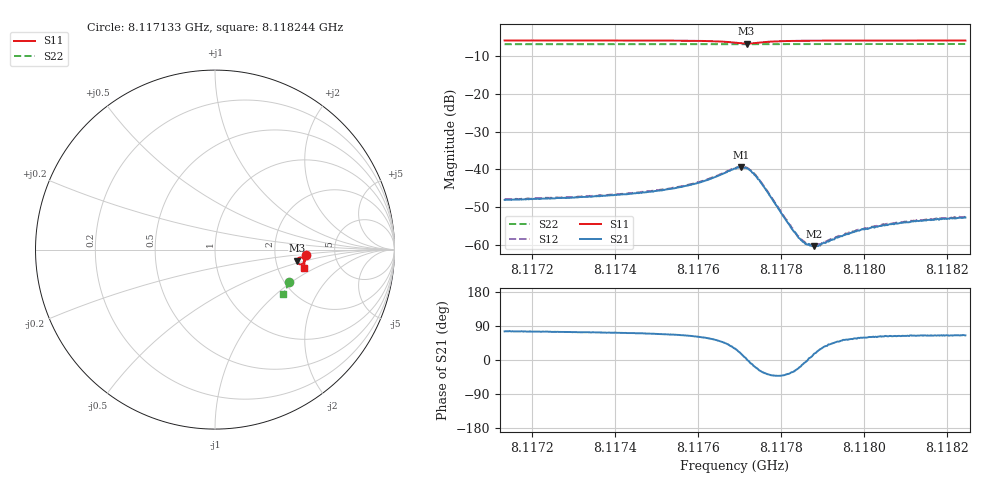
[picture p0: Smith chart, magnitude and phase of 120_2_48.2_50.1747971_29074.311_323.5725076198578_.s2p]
#  HZ  S  RI  R  50.00
! Rohde & Schwarz Vector Network Analyzer
! Rohde-Schwarz,ZNB20-2Port,1311601062101988,3.16
! Created: UTC 3/20/2024, 11:41:22 AM
! freq[Hz]  re:S11  im:S11  re:S21  im:S21  re:S12  im:S12  re:S22  im:S22
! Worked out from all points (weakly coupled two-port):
!   401 points, 8.117133 GHz to 8.118244 GHz, reference 50 ohm
!   highest |S21| = -39.42 dB at 8.117702 GHz (marker M1); lowest = -60.3 dB at 8.11788 GHz (marker M2)
!   lowest |S11| = -6.7 dB at 8.117716 GHz (marker M3), VSWR 2.71, Z = 132 - j20.6 ohm
!   |S11| at or under -10 dB: nowhere
!   |S22| runs from -6.9 to -6.9 dB; largest |S21 - S12| = 0.00051
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8.1171331e9  0.5052 -0.0273  0.00099 0.00383  0.00104 0.00392  0.4144 -0.1784
8.1173191e9  0.5036 -0.0428  0.00126 0.00413  0.00133 0.00422  0.4095 -0.1904
8.1174135e9  0.5024 -0.0512  0.00147 0.00443  0.0015 0.0045  0.4069 -0.1965
8.1175051e9  0.5001 -0.0605  0.0019 0.0049  0.00204 0.00496  0.4043 -0.2025
8.1175607e9  0.4975 -0.0672  0.00244 0.00536  0.00257 0.00544  0.4025 -0.2061
8.1176023e9  0.4938 -0.073  0.00325 0.00586  0.00337 0.00595  0.4009 -0.2087
8.1176884e9  0.4668 -0.0797  0.00888 0.00516  0.00903 0.00508  0.3973 -0.2138
8.1177023e9  0.4595 -0.0727  0.0102 0.00323  0.0102 0.00305  0.3968 -0.2143
8.1177162e9  0.4567 -0.0616  0.0104 0.000498  0.0106 0.000409  0.3963 -0.2147
8.1177328e9  0.4627 -0.0489  0.00864 -0.00233  0.00865 -0.00241  0.3962 -0.2151
8.1177495e9  0.4735 -0.0437  0.00604 -0.00331  0.0061 -0.00339  0.3963 -0.216
8.1178244e9  0.4957 -0.0569  0.00141 -0.000893  0.00143 -0.000959  0.3949 -0.2212
8.1178411e9  0.4969 -0.06  0.00117 -0.00047  0.00121 -0.00051  0.3943 -0.2224
8.1178578e9  0.4977 -0.0628  0.00103 -0.000108  0.00106 -0.000143  0.3941 -0.2236
8.1178744e9  0.4981 -0.0653  0.000961 0.000173  0.000982 0.000168  0.3934 -0.2247
8.11788e9  0.4983 -0.0661  0.000925 0.00029  0.000953 0.000266  0.3932 -0.2251
8.1178911e9  0.4984 -0.0676  0.000886 0.000443  0.000933 0.000455  0.3927 -0.2257
8.1179355e9  0.4985 -0.0731  0.000831 0.000947  0.000873 0.000959  0.3914 -0.2286
8.117991e9  0.4982 -0.079  0.000818 0.00136  0.000844 0.00136  0.3895 -0.2322
8.1180605e9  0.4975 -0.0856  0.000845 0.00169  0.0009 0.00169  0.3873 -0.2366
8.1181299e9  0.4965 -0.0916  0.000896 0.00188  0.00094 0.00194  0.3847 -0.2407
8.1182437e9  0.4948 -0.1009  0.000981 0.0021  0.000978 0.00213  0.3807 -0.2477
